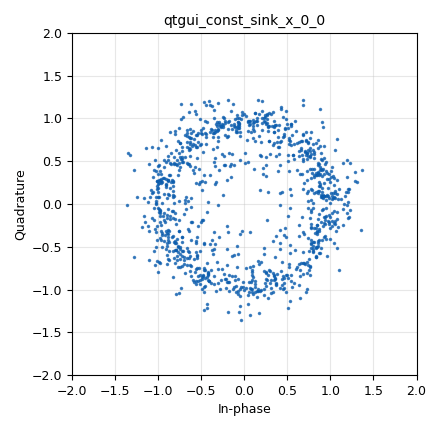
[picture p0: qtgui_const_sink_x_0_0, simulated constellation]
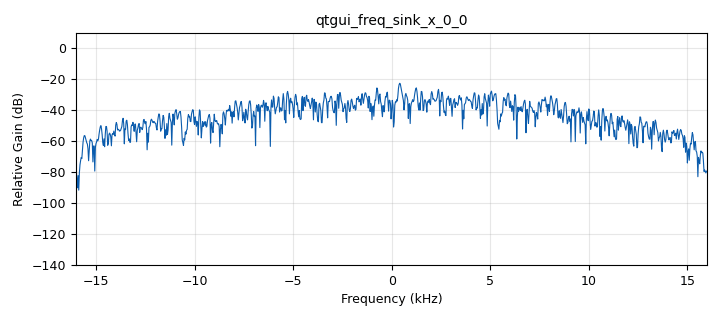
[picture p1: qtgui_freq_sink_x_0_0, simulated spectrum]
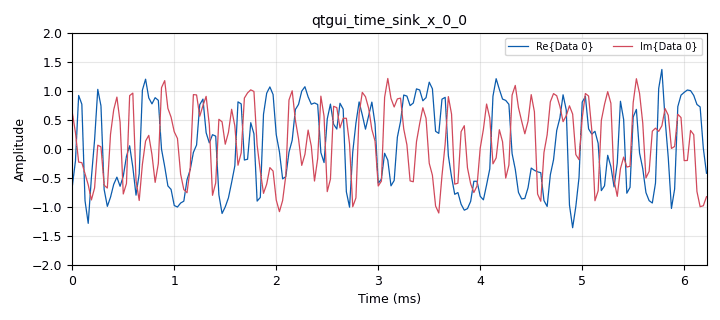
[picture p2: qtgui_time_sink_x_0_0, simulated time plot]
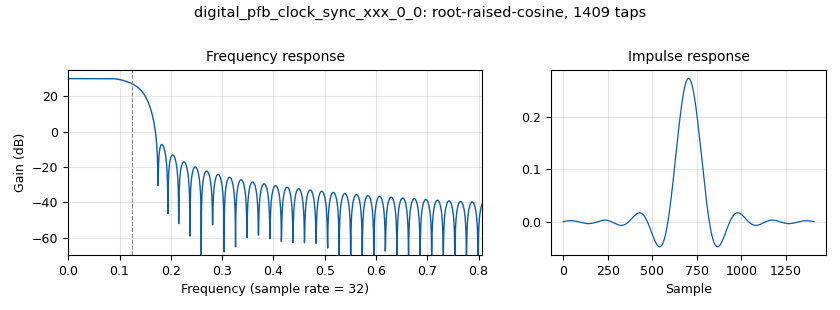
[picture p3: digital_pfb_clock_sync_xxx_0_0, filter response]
options:
  parameters:
    author: Barry Duggan
    category: Custom
    generate_options: qt_gui
    id: qpsk_stage3
    output_language: python
    title: qpsk_stage3
  states: {}

blocks:
- name: excess_bw
  id: variable
  parameters:
    value: '0.35'
  states: {}
- name: freq_offset
  id: variable_qtgui_range
  parameters:
    gui_hint: 0,2,1,1
    label: 'Channel: Frequency Offset'
    start: '-0.1'
    step: '0.001'
    stop: '0.1'
    value: '0.025'
  states: {}
- name: nfilts
  id: variable
  parameters:
    value: '32'
  states: {}
- name: noise_volt
  id: variable_qtgui_range
  parameters:
    gui_hint: 0,0,1,1
    label: 'Channel: Noise Voltage'
    start: '0'
    step: '0.01'
    stop: '1'
    value: '0.2'
  states: {}
- name: phase_bw
  id: variable
  parameters:
    value: '0.0628'
  states: {}
- name: qpsk
  id: variable_constellation_rect
  parameters:
    const_points: '[0.707+0.707j, -0.707+0.707j, -0.707-0.707j, 0.707-0.707j]'
    imag_sect: '2'
    real_sect: '2'
    rot_sym: '4'
    sym_map: '[0, 1, 2, 3]'
    w_imag_sect: '1'
    w_real_sect: '1'
  states: {state: disabled}
- name: qpsk
  id: variable_constellation_rect
  parameters:
    const_points: '[0.707+0.707j, -0.707+0.707j, -0.707-0.707j, 0.707-0.707j]'
    imag_sect: '2'
    real_sect: '2'
    rot_sym: '4'
    sym_map: '[0, 1, 2, 3]'
    w_imag_sect: '1'
    w_real_sect: '1'
  states: {}
- name: rrc_taps
  id: variable
  parameters:
    value: firdes.root_raised_cosine(nfilts, nfilts, 1.0/float(sps), 0.35, 11*sps*nfilts)
  states: {}
- name: samp_rate
  id: variable
  parameters:
    value: '32000'
  states: {}
- name: sps
  id: variable
  parameters:
    value: '4'
  states: {}
- name: time_offset
  id: variable_qtgui_range
  parameters:
    gui_hint: 0,1,1,1
    label: 'Channel: Timing Offset'
    start: '0.999'
    step: '0.0001'
    stop: '1.001'
    value: '1.0005'
  states: {}
- name: analog_random_source_x_0
  id: analog_random_source_x
  parameters:
    max: '256'
    min: '0'
    num_samps: '10000'
    repeat: 'True'
    type: byte
  states: {state: disabled}
- name: analog_random_source_x_0_0
  id: analog_random_source_x
  parameters:
    max: '256'
    min: '0'
    num_samps: '10000'
    repeat: 'True'
    type: byte
  states: {}
- name: blocks_throttle2_0
  id: blocks_throttle2
  parameters:
    samples_per_second: samp_rate
    type: complex
  states: {state: disabled}
- name: blocks_throttle2_0_0
  id: blocks_throttle2
  parameters:
    samples_per_second: samp_rate
    type: complex
  states: {}
- name: channels_channel_model_0
  id: channels_channel_model
  parameters:
    comment: Epsilon is the time offset
    epsilon: time_offset
    freq_offset: freq_offset
    noise_voltage: noise_volt
    seed: '0'
    taps: '1'
  states: {state: disabled}
- name: channels_channel_model_0_0
  id: channels_channel_model
  parameters:
    epsilon: time_offset
    freq_offset: freq_offset
    noise_voltage: noise_volt
    seed: '0'
    taps: '1'
  states: {}
- name: digital_constellation_modulator_0
  id: digital_constellation_modulator
  parameters:
    constellation: qpsk
    differential: 'True'
    excess_bw: excess_bw
    samples_per_symbol: sps
  states: {state: disabled}
- name: digital_constellation_modulator_0_0
  id: digital_constellation_modulator
  parameters:
    constellation: qpsk
    differential: 'True'
    excess_bw: excess_bw
    samples_per_symbol: sps
  states: {}
- name: digital_pfb_clock_sync_xxx_0
  id: digital_pfb_clock_sync_xxx
  parameters:
    filter_size: nfilts
    init_phase: nfilts/2
    loop_bw: phase_bw
    max_dev: '1.5'
    osps: '2'
    sps: sps
    taps: rrc_taps
    type: ccf
  states: {state: disabled}
- name: digital_pfb_clock_sync_xxx_0_0
  id: digital_pfb_clock_sync_xxx
  parameters:
    filter_size: nfilts
    init_phase: nfilts/2
    loop_bw: phase_bw
    max_dev: '1.5'
    osps: '2'
    sps: sps
    taps: rrc_taps
    type: ccf
  states: {}
- name: qtgui_const_sink_x_0
  id: qtgui_const_sink_x
  parameters:
    gui_hint: 1,2,1,2
    name: ''
    size: '1024'
    type: complex
  states: {state: disabled}
- name: qtgui_const_sink_x_0_0
  id: qtgui_const_sink_x
  parameters:
    gui_hint: 1,2,1,2
    name: ''
    size: '1024'
    type: complex
  states: {}
- name: qtgui_freq_sink_x_0
  id: qtgui_freq_sink_x
  parameters:
    bw: samp_rate
    fc: '0'
    fftsize: '1024'
    gui_hint: 2,0,1,4
    name: ''
    showports: 'True'
    type: complex
    width1: '2'
  states: {state: disabled}
- name: qtgui_freq_sink_x_0_0
  id: qtgui_freq_sink_x
  parameters:
    bw: samp_rate
    fc: '0'
    fftsize: '1024'
    gui_hint: 2,0,1,4
    name: ''
    showports: 'True'
    type: complex
    width1: '2'
  states: {}
- name: qtgui_time_sink_x_0
  id: qtgui_time_sink_x
  parameters:
    gui_hint: 1,0,1,2
    label1: ''
    label2: ''
    name: ''
    size: '200'
    srate: samp_rate
    type: complex
    ymax: '2'
    ymin: '-2'
  states: {state: disabled}
- name: qtgui_time_sink_x_0_0
  id: qtgui_time_sink_x
  parameters:
    gui_hint: 1,0,1,2
    label1: ''
    label2: ''
    name: ''
    size: '200'
    srate: samp_rate
    type: complex
    ymax: '2'
    ymin: '-2'
  states: {}

connections:
- [analog_random_source_x_0, '0', digital_constellation_modulator_0, '0']
- [analog_random_source_x_0_0, '0', digital_constellation_modulator_0_0, '0']
- [blocks_throttle2_0, '0', channels_channel_model_0, '0']
- [blocks_throttle2_0_0, '0', channels_channel_model_0_0, '0']
- [channels_channel_model_0, '0', digital_pfb_clock_sync_xxx_0, '0']
- [channels_channel_model_0_0, '0', digital_pfb_clock_sync_xxx_0_0, '0']
- [digital_constellation_modulator_0, '0', blocks_throttle2_0, '0']
- [digital_constellation_modulator_0_0, '0', blocks_throttle2_0_0, '0']
- [digital_pfb_clock_sync_xxx_0, '0', qtgui_const_sink_x_0, '0']
- [digital_pfb_clock_sync_xxx_0, '0', qtgui_freq_sink_x_0, '0']
- [digital_pfb_clock_sync_xxx_0, '0', qtgui_time_sink_x_0, '0']
- [digital_pfb_clock_sync_xxx_0_0, '0', qtgui_const_sink_x_0_0, '0']
- [digital_pfb_clock_sync_xxx_0_0, '0', qtgui_freq_sink_x_0_0, '0']
- [digital_pfb_clock_sync_xxx_0_0, '0', qtgui_time_sink_x_0_0, '0']

metadata:
  file_format: 1
  grc_version: 3.10.10.0
